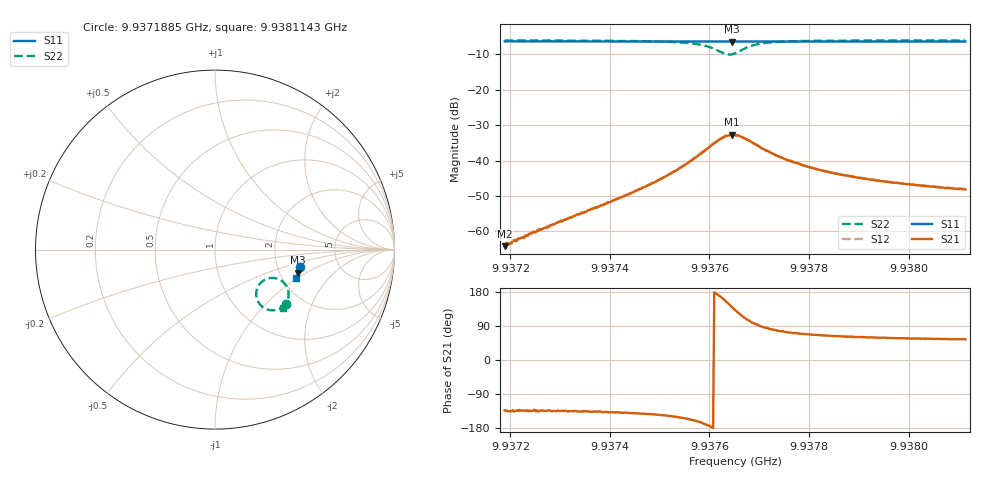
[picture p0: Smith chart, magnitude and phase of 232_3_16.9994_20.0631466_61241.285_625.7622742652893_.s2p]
#  HZ  S  RI  R  50.00
! Rohde & Schwarz Vector Network Analyzer
! Rohde-Schwarz,ZNB20-2Port,1311601062101988,3.16
! Created: UTC 3/20/2024, 11:02:25 PM
! freq[Hz]  re:S11  im:S11  re:S21  im:S21  re:S12  im:S12  re:S22  im:S22
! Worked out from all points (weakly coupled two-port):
!   401 points, 9.9371885 GHz to 9.9381143 GHz, reference 50 ohm
!   highest |S21| = -32.65 dB at 9.9376444 GHz (marker M1); lowest = -64.2 dB at 9.9371885 GHz (marker M2)
!   lowest |S11| = -6.4 dB at 9.9376444 GHz (marker M3), VSWR 2.84, Z = 126 - j41.9 ohm
!   |S11| at or under -10 dB: nowhere
!   |S22| runs from -10.1 to -6.1 dB; largest |S21 - S12| = 0.001
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9.93718848e9  0.4736 -0.0994  -0.000422 -0.00045  -0.000464 -0.000428  0.3951 -0.3031
9.93719774e9  0.4734 -0.1001  -0.000471 -0.000472  -0.000498 -0.000473  0.3944 -0.3038
9.93724403e9  0.4726 -0.1033  -0.000648 -0.000678  -0.000666 -0.000691  0.3905 -0.3073
9.93734355e9  0.4705 -0.11  -0.00129 -0.00125  -0.00135 -0.00129  0.3804 -0.3164
9.93742919e9  0.4687 -0.1159  -0.00237 -0.00209  -0.00243 -0.00207  0.3667 -0.3257
9.93749862e9  0.4672 -0.1206  -0.00435 -0.00304  -0.00445 -0.00306  0.3465 -0.3344
9.93754954e9  0.4657 -0.124  -0.00768 -0.0038  -0.00786 -0.00376  0.3166 -0.3381
9.93759121e9  0.464 -0.1268  -0.0136 -0.00257  -0.014 -0.00238  0.2682 -0.3221
9.93760741e9  0.4631 -0.1274  -0.0171 -0.000106  -0.0174 0.000212  0.244 -0.2971
9.93762361e9  0.4622 -0.1282  -0.0197 0.00501  -0.02 0.00582  0.2295 -0.2515
9.93763518e9  0.462 -0.1282  -0.0197 0.0103  -0.0198 0.0113  0.2379 -0.2098
9.93764444e9  0.4619 -0.1283  -0.0181 0.0147  -0.0177 0.0153  0.2597 -0.1804
9.93765138e9  0.4619 -0.1284  -0.0153 0.0171  -0.0149 0.0177  0.2828 -0.1658
9.93766064e9  0.4624 -0.1286  -0.0116 0.0189  -0.0109 0.0193  0.3158 -0.158
9.93767684e9  0.4624 -0.1297  -0.00513 0.0187  -0.0049 0.0191  0.3634 -0.169
9.93770462e9  0.4628 -0.1317  0.000422 0.015  0.000732 0.0152  0.4006 -0.2079
9.93773239e9  0.4624 -0.134  0.00222 0.0117  0.00259 0.0118  0.4095 -0.2379
9.93775785e9  0.4619 -0.1357  0.00302 0.00963  0.00299 0.00951  0.41 -0.2567
9.93780646e9  0.4607 -0.1391  0.00308 0.0072  0.00323 0.0072  0.4054 -0.2785
9.93788052e9  0.4589 -0.1441  0.00289 0.00531  0.00297 0.00529  0.3974 -0.2968
9.93796153e9  0.4571 -0.1496  0.00262 0.00421  0.00271 0.00422  0.39 -0.3086
9.93811429e9  0.4532 -0.1595  0.00228 0.00317  0.00234 0.00319  0.3783 -0.3235
